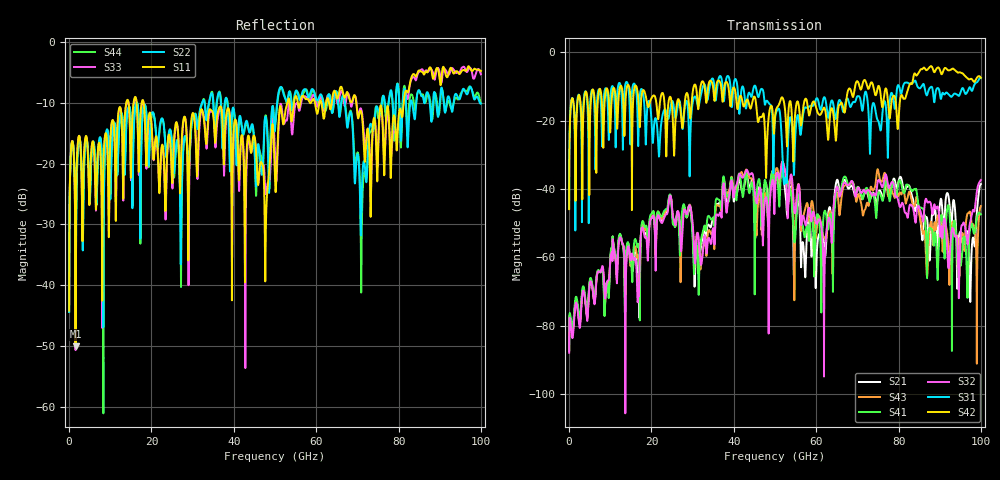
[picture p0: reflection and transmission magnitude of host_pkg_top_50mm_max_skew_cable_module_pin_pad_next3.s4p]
# Hz S RI R 50
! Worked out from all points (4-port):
!   10000 points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, 10 MHz to 100 GHz, reference 50 ohm
!   strongest paths, dB at 10 MHz, 25.01 GHz, 50.01 GHz, 75.01 GHz, 100 GHz:
!     S42: -45.9, -16.0, -18.9, -10.1, -7.5
!     S31: -45.7, -14.3, -19.4, -20.0, -7.6
!     S32: -87.9, -45.5, -40.6, -37.5, -37.4
!     S41: -87.0, -47.1, -37.2, -41.4, -47.4
!     S43: -87.6, -45.9, -36.0, -34.4, -45.0
!     S21: -87.4, -46.4, -39.0, -41.8, -38.5
!   lowest |S11| = -50.0 dB at 1.57 GHz (marker M1), VSWR 1.01, Z = 50.3 + j0.00843 ohm
!   |S11| at or under -10 dB: start of sweep to 13.88 GHz; 18.11 GHz to 53.02 GHz (34.91 GHz wide, 98.1 % of centre); 69.74 GHz to 81.26 GHz (11.52 GHz wide, 15.3 % of centre)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
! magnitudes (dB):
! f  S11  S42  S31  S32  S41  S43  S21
! 10 MHz  -44.2  -45.9  -45.7  -87.9  -87.0  -87.6  -87.4
! 1.57 GHz  -50.0  -43.5  -32.7  -73.8  -71.9  -72.9  -72.9
! 43.04 GHz  -19.3  -14.1  -16.1  -34.5  -35.5  -34.3  -35.8
! 52.47 GHz  -11.6  -17.2  -37.4  -34.8  -38.6  -34.9  -40.4
! 61.94 GHz  -12.5  -16.2  -13.1  -76.6  -46.8  -54.1  -56.5
! 97.43 GHz  -4.5  -7.8  -10.4  -49.5  -51.5  -46.9  -72.9
! 100 GHz  -4.8  -7.5  -7.6  -37.4  -47.4  -45.0  -38.5
